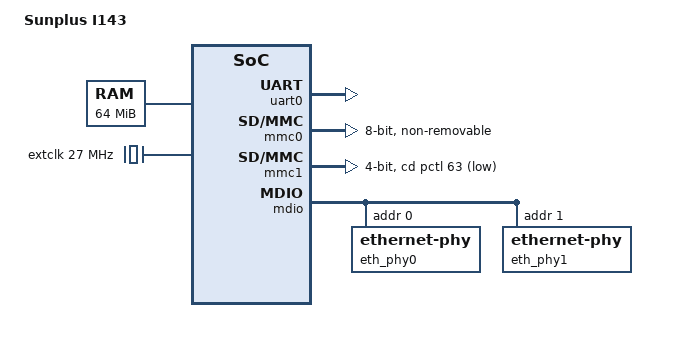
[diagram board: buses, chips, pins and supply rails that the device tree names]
// SPDX-License-Identifier: (GPL-2.0 OR MIT)
/* Copyright (c) 2018-2019 Sunplus */

/dts-v1/;

#define CONFIG_SOC_I143

#include <dt-bindings/interrupt-controller/irq.h>
#include <dt-bindings/interrupt-controller/sp-intc.h> /* SP_INTC_EXT_INT1 */
#include <dt-bindings/clock/sp-clkc.h>
#include <dt-bindings/reset/sp-resets.h>
#include <dt-bindings/gpio/gpio.h>
#include <dt-bindings/pinctrl/sp_i143.h>

/* Clock frequency (in Hz) of the PCB crystal for rtcclk */
#define RTCCLK_FREQ             1000000

/ {
	#address-cells = <2>;
	#size-cells = <2>;
	model = "Sunplus I143";
	compatible = "sunplus,sp-i143";

	chosen {
		linux,initrd-start = <0x00000000 0xa2000000>;
		linux,initrd-end = <0x00000000 0xa2AC1A40>;
		//bootargs = "earlycon=sbi keep_bootcon loglevel=8";
		bootargs = "earlycon loglevel=8";
		stdout-path = "/soc/serial@sp_uart0";
	};

	memory@a0000000 {
		device_type = "memory";
		//reg = <0x0 0xa0000000 0x0 0x20000000>; /* 512 MB */
		//reg = <0x0 0xa0000000 0x0 0x08000000>; /* 128 MB */
		reg = <0x0 0xa0000000 0x0 0x04000000>; /* 64 MB */
	};

	clocks {
		#address-cells = <2>;
		#size-cells = <2>;
		ranges;

		extclk: clk@osc0 {
			#clock-cells = <0>;
			compatible = "fixed-clock";
			clock-frequency = <27000000>;
			clock-output-names = "extclk";
		};

		clkc: clkc@9c000054 {
			#clock-cells = <1>;
			compatible = "sunplus,sp-clkc";
			reg = <0x0 0x9c000000 0x0 0x2c>, // G0.0 ~ G0.10
				  <0x0 0x9c000200 0x0 0x80>; // G4
		};
	};

	cpus {
		timebase-frequency = <RTCCLK_FREQ>;
		#address-cells = <1>;
		#size-cells = <0>;
		cpu0: cpu@0 {
			compatible = "sifive,e51", "sifive,rocket0", "riscv";
			device_type = "cpu";
			i-cache-block-size = <64>;
			i-cache-sets = <128>;
			i-cache-size = <16384>;
			reg = <0>;
			riscv,isa = "rv64imac";
			status = "masked";
			cpu0_intc: interrupt-controller {
				#interrupt-cells = <1>;
				compatible = "riscv,cpu-intc";
				interrupt-controller;
			};
		};
		cpu1: cpu@1 {
			compatible = "sifive,u54-mc", "sifive,rocket0", "riscv";
			d-cache-block-size = <64>;
			d-cache-sets = <64>;
			d-cache-size = <32768>;
			d-tlb-sets = <1>;
			d-tlb-size = <32>;
			device_type = "cpu";
			i-cache-block-size = <64>;
			i-cache-sets = <64>;
			i-cache-size = <32768>;
			i-tlb-sets = <1>;
			i-tlb-size = <32>;
			mmu-type = "riscv,sv39";
			reg = <1>;
			riscv,isa = "rv64imafdc";
			tlb-split;
			status = "okay";
			cpu1_intc: interrupt-controller {
				#interrupt-cells = <1>;
				compatible = "riscv,cpu-intc";
				interrupt-controller;
			};
		};
		cpu2: cpu@2 {
			compatible = "sifive,u54-mc", "sifive,rocket0", "riscv";
			d-cache-block-size = <64>;
			d-cache-sets = <64>;
			d-cache-size = <32768>;
			d-tlb-sets = <1>;
			d-tlb-size = <32>;
			device_type = "cpu";
			i-cache-block-size = <64>;
			i-cache-sets = <64>;
			i-cache-size = <32768>;
			i-tlb-sets = <1>;
			i-tlb-size = <32>;
			mmu-type = "riscv,sv39";
			reg = <2>;
			riscv,isa = "rv64imafdc";
			tlb-split;
			status = "okay";
			cpu2_intc: interrupt-controller {
				#interrupt-cells = <1>;
				compatible = "riscv,cpu-intc";
				interrupt-controller;
			};
		};
		cpu3: cpu@3 {
			compatible = "sifive,u54-mc", "sifive,rocket0", "riscv";
			d-cache-block-size = <64>;
			d-cache-sets = <64>;
			d-cache-size = <32768>;
			d-tlb-sets = <1>;
			d-tlb-size = <32>;
			device_type = "cpu";
			i-cache-block-size = <64>;
			i-cache-sets = <64>;
			i-cache-size = <32768>;
			i-tlb-sets = <1>;
			i-tlb-size = <32>;
			mmu-type = "riscv,sv39";
			reg = <3>;
			riscv,isa = "rv64imafdc";
			tlb-split;
			status = "okay";
			cpu3_intc: interrupt-controller {
				#interrupt-cells = <1>;
				compatible = "riscv,cpu-intc";
				interrupt-controller;
			};
		};
		cpu4: cpu@4 {
			compatible = "sifive,u54-mc", "sifive,rocket0", "riscv";
			d-cache-block-size = <64>;
			d-cache-sets = <64>;
			d-cache-size = <32768>;
			d-tlb-sets = <1>;
			d-tlb-size = <32>;
			device_type = "cpu";
			i-cache-block-size = <64>;
			i-cache-sets = <64>;
			i-cache-size = <32768>;
			i-tlb-sets = <1>;
			i-tlb-size = <32>;
			mmu-type = "riscv,sv39";
			reg = <4>;
			riscv,isa = "rv64imafdc";
			tlb-split;
			status = "okay";
			cpu4_intc: interrupt-controller {
				#interrupt-cells = <1>;
				compatible = "riscv,cpu-intc";
				interrupt-controller;
			};
		};
	};

	soc {
		#address-cells = <2>;
		#size-cells = <2>;
		compatible = "simple-bus";
		ranges;

		plic0: interrupt-controller@c000000 {
			#interrupt-cells = <1>;
			compatible = "riscv,plic0";
			interrupt-controller;
			interrupts-extended = <
				&cpu0_intc 11
				&cpu1_intc 11 &cpu1_intc 9
				&cpu2_intc 11 &cpu2_intc 9
				&cpu3_intc 11 &cpu3_intc 9
				&cpu4_intc 11 &cpu4_intc 9>;
			reg = <0x0 0xc000000 0x0 0x4000000>;
			reg-names = "control";
			riscv,max-priority = <7>;
			riscv,ndev = <226>;
		};

		clint0: clint@2000000 {
			compatible = "riscv,clint0";
			interrupts-extended = <&cpu0_intc 3 &cpu0_intc 7 &cpu1_intc 3 &cpu1_intc 7 &cpu2_intc 3 &cpu2_intc 7 &cpu3_intc 3 &cpu3_intc 7 &cpu4_intc 3 &cpu4_intc 7>;
			reg = <0x0 0x2000000 0x0 0x10000>;
			reg-names = "control";
		};

		uart0: serial@sp_uart0 {
			compatible = "sunplus,sp7021-uart";
			reg = <0x0 0x9c000900 0x0 0x80>;
		};

		intc: interrupt-controller@9c003500 {
			compatible = "sunplus,sp-intc";
			interrupt-controller;
			reg = <0x0 0x9c003500 0x0 0x80>, // G106
				  <0x0 0x9c003580 0x0 0x80>; // G107
			#interrupt-cells = <2>;
			interrupt-parent = <&plic0>;
			interrupts = <2 7>; // 2,7 for core0
			ext0-mask = <0xf>; /* core0-3 */
			ext1-mask = <0xe>; /* core1-3 */
		};

		rstc: reset@9c000054 {
			compatible = "sunplus,sp-reset";
			#reset-cells = <1>;
			reg = <0x0 0x9c000054 0x0 0x28>; // G0.21 ~ G0.30
			reg-names = "reset";
		};

#if 0 // for sp-intc & sp-ipc test
		ipc_test: ipc_test@G258 {
			compatible = "sunplus,sp-ipc-test";
			reg = <0x0 0x9c008100 0x0 0x100>; /* G258 ~ G259 */
			interrupt-parent = <&intc>;
			interrupts =
				<2 IRQ_TYPE_EDGE_RISING>, /* U54_DIRECT_INT0 */
				<3 IRQ_TYPE_EDGE_RISING>, /* U54_DIRECT_INT1 */
				<4 IRQ_TYPE_EDGE_RISING>, /* U54_DIRECT_INT2 */
				<5 IRQ_TYPE_EDGE_RISING>, /* U54_DIRECT_INT3 */
				<6 IRQ_TYPE_EDGE_RISING>, /* U54_DIRECT_INT4 */
				<7 IRQ_TYPE_EDGE_RISING>, /* U54_DIRECT_INT5 */
				<8 IRQ_TYPE_EDGE_RISING>, /* U54_DIRECT_INT6 */
				<9 IRQ_TYPE_EDGE_RISING>, /* U54_DIRECT_INT7 */
				<10 IRQ_TYPE_EDGE_RISING>, /* U54_INT */
				<84 (IRQ_TYPE_EDGE_RISING | SP_INTC_EXT_INT1)>, /* ACHIPCPU0_DIRECT_INT0 */
				<85 (IRQ_TYPE_EDGE_RISING | SP_INTC_EXT_INT1)>, /* ACHIPCPU0_DIRECT_INT1 */
				<86 (IRQ_TYPE_EDGE_RISING | SP_INTC_EXT_INT1)>, /* ACHIPCPU0_DIRECT_INT2 */
				<87 (IRQ_TYPE_EDGE_RISING | SP_INTC_EXT_INT1)>, /* ACHIPCPU0_DIRECT_INT3 */
				<88 (IRQ_TYPE_EDGE_RISING | SP_INTC_EXT_INT1)>, /* ACHIPCPU0_DIRECT_INT4 */
				<89 (IRQ_TYPE_EDGE_RISING | SP_INTC_EXT_INT1)>, /* ACHIPCPU0_DIRECT_INT5 */
				<90 (IRQ_TYPE_EDGE_RISING | SP_INTC_EXT_INT1)>, /* ACHIPCPU0_DIRECT_INT6 */
				<91 (IRQ_TYPE_EDGE_RISING | SP_INTC_EXT_INT1)>, /* ACHIPCPU0_DIRECT_INT7 */
				<92 (IRQ_TYPE_EDGE_RISING | SP_INTC_EXT_INT1)>; /* ACHIPCPU0_INT */
		};
#endif
		mmc0: mmc@emmc {
			compatible = "sunplus,sp7021-emmc";
			reg = <0x0 0x9c003b00 0x0 0x180>;
			interrupt-parent = <&intc>;
			interrupts = <11 IRQ_TYPE_LEVEL_HIGH>;
			clocks = <&clkc CARD_CTL0>;
			resets = <&rstc RST_CARD_CTL0>;
			pinctrl-names = "default";
			pinctrl-0 = <&emmc_mux>;
			bus-width = <8>;
			max-frequency = <52000000>;
			non-removable;
			disable-wp;
			cap-mmc-highspeed;
			mmc-ddr-3_3v;
			no-sdio;
			no-sd;
		};

		mmc1: mmc@sdcard {
			compatible = "sunplus,sp7021-card1";
			reg = <0x0 0x9c003e80 0x0 0x280>;
			interrupt-parent = <&intc>;
			interrupts = <12 IRQ_TYPE_LEVEL_HIGH>;
			clocks = <&clkc CARD_CTL1>;
			resets = <&rstc RST_CARD_CTL1>;
			pinctrl-names = "default";
			pinctrl-0 = <&mmc1_mux>;
			bus-width = <4>;
			max-frequency = <52000000>;
			cd-gpios = <&pctl 63 GPIO_ACTIVE_LOW>;
			broken-cd;
			disable-wp;
			cap-sd-highspeed;
			no-sdio;
			no-mmc;
		};

		gl2sw: gl2sw@0x9c108000 {
			compatible = "sunplus,i143-gl2sw";
			reg = <0x0 0x9c108000 0x0 0x400>, <0x0 0x9c000280 0x0 0x80>;
			reg-names = "l2sw", "moon5";
			interrupt-parent = <&intc>;
			interrupts =
				<38 IRQ_TYPE_LEVEL_HIGH>,
				<39 IRQ_TYPE_LEVEL_HIGH>,
				<40 IRQ_TYPE_LEVEL_HIGH>,
				<41 IRQ_TYPE_LEVEL_HIGH>;
			clocks = <&clkc GL2SW>;
			resets = <&rstc RST_GL2SW>;
			phy-handle1 = <&eth_phy0>;
			phy-handle2 = <&eth_phy1>;
			//nvmem-cell-names = "mac_addr0", "mac_addr1";
			//nvmem-cells = <&mac_addr0>, <&mac_addr1>;
			pinctrl-names = "default";
			pinctrl-0 = <&gl2sw_pins>;
		};

		mdio {
			compatible = "sunplus,i143-mdio";
			#address-cells = <1>;
			#size-cells = <0>;
			eth_phy0: ethernet-phy@0 {
				reg = <0>;
			};
			eth_phy1: ethernet-phy@1 {
				reg = <1>;
			};
		};

		pctl: pctl@0x9C000100 {
			compatible = "sunplus,i143-pctl";
			reg = <0x0 0x9C000100 0x0 0x100>,
			      <0x0 0x9C000300 0x0 0x80>,
			      <0x0 0x9C000380 0x0 0x80>,
			      <0x0 0x9C0032e4 0x0 0x1C>,
			      <0x0 0x9C000080 0x0 0x20>;
			gpio-controller;
			#gpio-cells = <2>;
			//interrupt-parent = <&intc>;
			//interrupts =
			//	<120 IRQ_TYPE_LEVEL_HIGH>,
			//	<121 IRQ_TYPE_LEVEL_HIGH>,
			//	<122 IRQ_TYPE_LEVEL_HIGH>,
			//	<123 IRQ_TYPE_LEVEL_HIGH>,
			//	<124 IRQ_TYPE_LEVEL_HIGH>,
			//	<125 IRQ_TYPE_LEVEL_HIGH>,
			//	<126 IRQ_TYPE_LEVEL_HIGH>,
			//	<127 IRQ_TYPE_LEVEL_HIGH>;
			//clocks = <&clkc GPIO>;
			//resets = <&rstc RST_GPIO>;

			emmc_mux: emmc_mux {
				sppctl,groups = "CARD0_EMMC";
				sppctl,function = "CARD0_EMMC";
			};

			mmc1_mux: mmc1_mux {
				sppctl,groups = "SD_CARD";
				sppctl,function = "SD_CARD";
				sppctl,pins = < I143_IOPAD(63,I143_PCTL_G_GPIO,0,0) >;
			};

			gl2sw_pins: gl2sw_pins {
				sppctl,groups = "GL2SW";
				sppctl,function = "GL2SW";
			};
		};
	};

};
